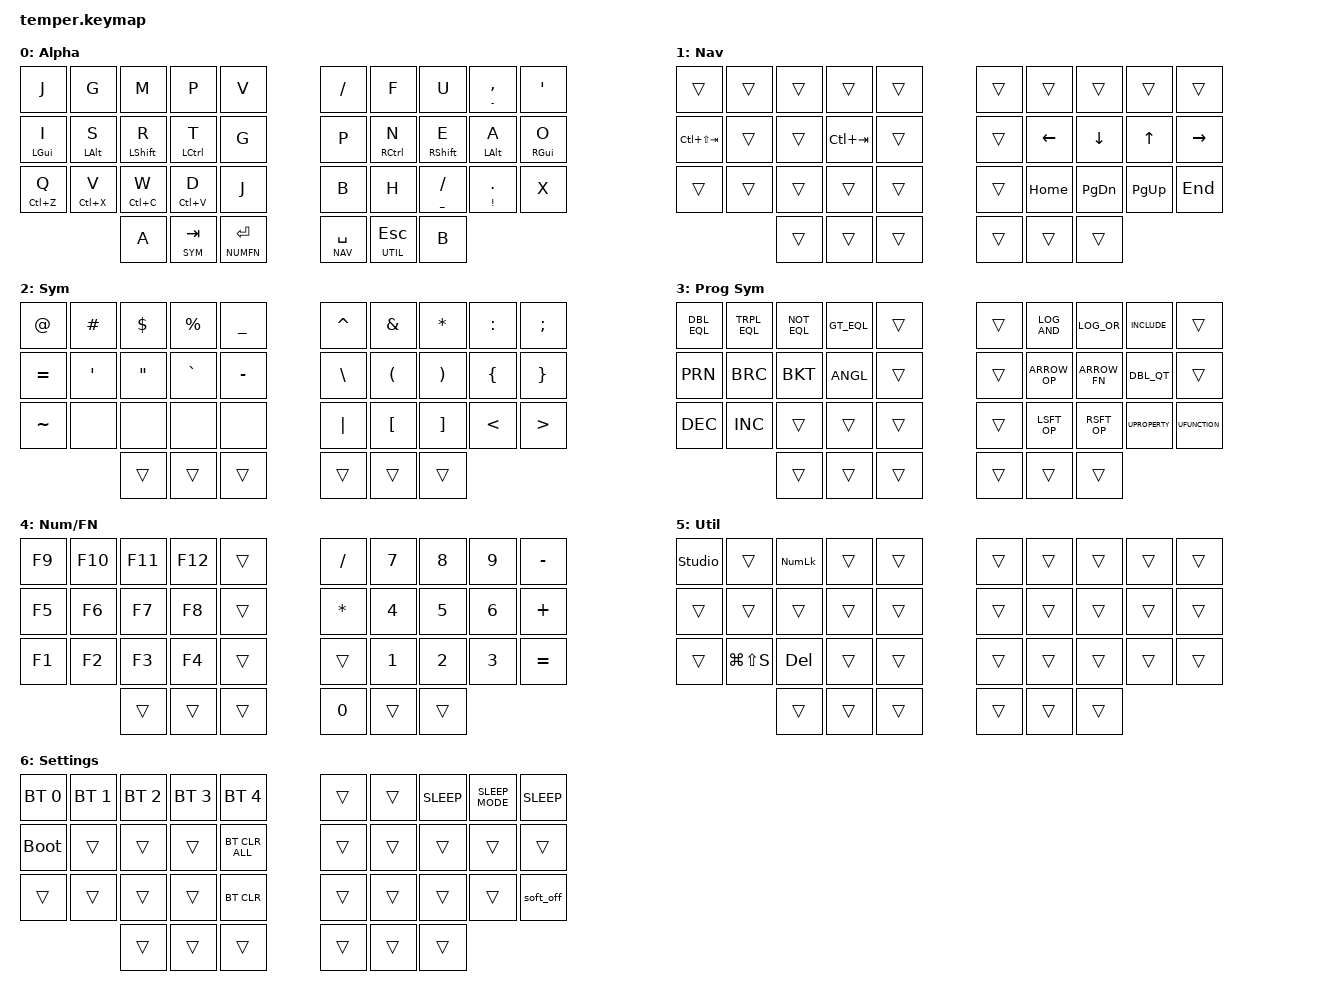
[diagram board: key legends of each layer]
/*
 * Copyright (c) 2020 The ZMK Contributors
 *
 * SPDX-License-Identifier: MIT
 */

#include <behaviors.dtsi>
#include <dt-bindings/zmk/keys.h>
#include <dt-bindings/zmk/bt.h>
#include <dt-bindings/zmk/outputs.h>
#include "layers.conf"
#include "macros.conf"
#include "combos.conf"


/ {
    behaviors {

       hm: homerow_mods {
                compatible = "zmk,behavior-hold-tap";
                #binding-cells = <2>;
                tapping-term-ms = <200>;
                flavor = "tap-preferred";
                bindings = <&kp>, <&kp>;
            };

            kp_sl: behavior_kp_sl {
                compatible = "zmk,behavior-hold-tap";
                #binding-cells = <2>;
                flavor = "hold-preferred";
                tapping-term-ms = <200>;
                bindings = <&sl>, <&kp>;
            };

            ht: behavior_hold_tap_key {
                compatible = "zmk,behavior-hold-tap";
                #binding-cells = <2>;
                flavor = "hold-preferred";
                tapping-term-ms = <200>;
                bindings = <&kp>, <&kp>;
            };

        bspc_del: backspace_delete {
            compatible = "zmk,behavior-mod-morph";
            #binding-cells = <0>;
            bindings = <&kp BACKSPACE>, <&kp DELETE>;
            mods = <(MOD_LSFT|MOD_RSFT)>;
            keep-mods = <(MOD_RSFT)>;
        };
        super_bspc: super_backspace {
            compatible = "zmk,behavior-mod-morph";
            #binding-cells = <0>;
            bindings = <&kp BACKSPACE>, <&kp LA(BACKSPACE)>;
            mods = <(MOD_LSFT|MOD_RSFT)>;
        };
        smart_shft: smart_shift {
            compatible = "zmk,behavior-mod-morph";
            #binding-cells = <0>;
            bindings = <&kp LSHFT>, <&caps_word>;
            mods = <(MOD_LSFT)>;
        };
        comma_semi: comma_semi {
            compatible = "zmk,behavior-mod-morph";
            #binding-cells = <0>;
            bindings = <&kp COMMA>, <&kp SEMI>;
            mods = <(MOD_LSFT)>;
        };
        dot_colon: dot_colon {
            compatible = "zmk,behavior-mod-morph";
            #binding-cells = <0>;
            bindings = <&kp DOT>, <&kp COLON>;
            mods = <(MOD_LSFT)>;
        };
        qmrk_excl: qmrk_excl {
            compatible = "zmk,behavior-mod-morph";
            #binding-cells = <0>;
            bindings = <&kp QMARK>, <&kp EXCL>;
            mods = <(MOD_LSFT)>;
        };
        slh_morph: slh_morph {
            compatible = "zmk,behavior-mod-morph";
            #binding-cells = <0>;
            bindings = <&kp FSLH>, <&kp BSLH>;
            mods = <(MOD_LSFT)>;
        };
        amps_morph: amps_morph {
            compatible = "zmk,behavior-mod-morph";
            #binding-cells = <0>;
            bindings = <&kp AMPS>, <&kp PIPE>;
            mods = <(MOD_LSFT)>;
        };
    };

    conditional_layers {
        compatible = "zmk,conditional-layers";

        settings_trigger {
            if-layers = <1 4>;
            then-layer = <6>;
        };
    };

        keymap {
                compatible = "zmk,keymap";

                default_layer {
                        display-name = "Alpha";
                        bindings = <
// ╭─────────────┬─────────────┬─────────────┬─────────────┬─────────────╮   ╭─────────────┬─────────────┬─────────────┬─────────────┬─────────────╮
        &kp J         &kp G         &kp M         &kp P         &kp V             &kp SLASH         &kp F         &kp U    &ht MINUS COMMA   &kp APOS
// ├─────────────┼─────────────┼─────────────┼─────────────┼─────────────┤   ├─────────────┼─────────────┼─────────────┼─────────────┼─────────────┤
      &hm LGUI I   &hm LALT S   &hm LSHFT R  &hm LCTRL T        &kp G               &kp P  &hm RCTRL N    &hm RSHFT E      &hm LALT A    &hm RGUI O
// ├─────────────┼─────────────┼─────────────┼─────────────┼─────────────┤   ├─────────────┼─────────────┼─────────────┼─────────────┼─────────────┤
     &mt LC(Z) Q    &mt LC(X) V  &mt LC(C) W  &mt LC(V) D      &kp J              &kp B         &kp H    &ht UNDER SLASH &ht EXCL DOT     &kp X
// ╰─────────────┴─────────────┼─────────────┼─────────────┼─────────────┤   ├─────────────┼─────────────┼─────────────┼─────────────┴─────────────╯
                                   &kp A     &lt SYM TAB  &lt NUMFN ENTER     &lt NAV SPACE  &lt UTIL ESC    &kp B
//                             ╰─────────────┴─────────────┴─────────────╯   ╰─────────────┴─────────────┴─────────────╯
                        >;
                };

                nav_layer {
                    display-name = "Nav";
                        bindings = <
// ╭─────────────┬─────────────┬─────────────┬─────────────┬─────────────╮   ╭─────────────┬─────────────┬─────────────┬─────────────┬─────────────╮
        &trans      &trans        &trans        &trans          &trans            &trans        &trans         &trans     &trans         &trans
// ├─────────────┼─────────────┼─────────────┼─────────────┼─────────────┤   ├─────────────┼─────────────┼─────────────┼─────────────┼─────────────┤
    &kp LC(LS(TAB))  &trans         &trans      &kp LC(TAB)     &trans          &trans         &kp LEFT     &kp DOWN        &kp UP     &kp RIGHT
// ├─────────────┼─────────────┼─────────────┼─────────────┼─────────────┤   ├─────────────┼─────────────┼─────────────┼─────────────┼─────────────┤
        &trans       &trans         &trans        &trans       &trans             &trans        &kp HOME   &kp PG_DN        &kp PG_UP   &kp END
// ╰─────────────┴─────────────┼─────────────┼─────────────┼─────────────┤   ├─────────────┼─────────────┼─────────────┼─────────────┴─────────────╯
                                    &trans        &trans        &trans            &trans        &trans        &trans
//                             ╰─────────────┴─────────────┴─────────────╯   ╰─────────────┴─────────────┴─────────────╯
                        >;
                };


           sym_layer {
               display-name = "Sym";
                        bindings = <
// ╭─────────────┬─────────────┬─────────────┬─────────────┬─────────────╮   ╭─────────────┬─────────────┬─────────────┬─────────────┬─────────────╮
         &kp AT     &kp HASH       &kp DLLR     &kp PRCNT     &kp UNDER         &kp CARET      &kp AMPS     &kp STAR       &kp COLON    &kp SEMI
// ├─────────────┼─────────────┼─────────────┼─────────────┼─────────────┤   ├─────────────┼─────────────┼─────────────┼─────────────┼─────────────┤
     &kp EQUAL      &kp APOS       &kp DQT      &kp GRAVE     &kp MINUS         &kp BSLH      &kp LPAR        &kp RPAR    &kp LBRC      &kp RBRC
// ├─────────────┼─────────────┼─────────────┼─────────────┼─────────────┤   ├─────────────┼─────────────┼─────────────┼─────────────┼─────────────┤
        &kp TILDE   &none           &none       &none           &none           &kp PIPE       &kp LBKT     &kp RBKT        &kp LT       &kp GT
// ╰─────────────┴─────────────┼─────────────┼─────────────┼─────────────┤   ├─────────────┼─────────────┼─────────────┼─────────────┴─────────────╯
                                    &trans        &trans        &trans            &trans        &trans        &trans
//                             ╰─────────────┴─────────────┴─────────────╯   ╰─────────────┴─────────────┴─────────────╯
                        >;
                };

           prog_sym_layer {
               display-name = "Prog Sym";
                        bindings = <
// ╭─────────────┬─────────────┬─────────────┬─────────────┬─────────────╮   ╭─────────────┬─────────────┬─────────────┬─────────────┬─────────────╮
       &DBL_EQL     &TRPL_EQL      &NOT_EQL       &GT_EQL       &trans             &trans      &LOG_AND     &LOG_OR        &INCLUDE    &trans
// ├─────────────┼─────────────┼─────────────┼─────────────┼─────────────┤   ├─────────────┼─────────────┼─────────────┼─────────────┼─────────────┤
         &PRN          &BRC         &BKT          &ANGL         &trans             &trans     &ARROW_OP      &ARROW_FN      &DBL_QT     &trans
// ├─────────────┼─────────────┼─────────────┼─────────────┼─────────────┤   ├─────────────┼─────────────┼─────────────┼─────────────┼─────────────┤
         &DEC          &INC         &trans         &trans       &trans             &trans     &LSFT_OP       &RSFT_OP      &UPROPERTY  &UFUNCTION
// ╰─────────────┴─────────────┼─────────────┼─────────────┼─────────────┤   ├─────────────┼─────────────┼─────────────┼─────────────┴─────────────╯
                                    &trans        &trans        &trans            &trans        &trans        &trans
//                             ╰─────────────┴─────────────┴─────────────╯   ╰─────────────┴─────────────┴─────────────╯
                        >;
                };

//                qwerty_layer {
//                        bindings = <
// ╭─────────────┬─────────────┬─────────────┬─────────────┬─────────────╮   ╭─────────────┬─────────────┬─────────────┬─────────────┬─────────────╮
//        &kp Q         &kp W         &kp E         &kp R         &kp T              &kp Y        &kp U         &kp I         &kp O         &kp P   
// ├─────────────┼─────────────┼─────────────┼─────────────┼─────────────┤   ├─────────────┼─────────────┼─────────────┼─────────────┼─────────────┤
//        &kp A         &kp S         &kp D         &kp F         &kp G              &kp H        &kp J         &kp K         &kp L       &kp SEMI
// ├─────────────┼─────────────┼─────────────┼─────────────┼─────────────┤   ├─────────────┼─────────────┼─────────────┼─────────────┼─────────────┤
//        &kp Z         &kp X         &kp C         &kp V         &kp B              &kp N        &kp M       &kp COMMA      &kp DOT      &kp FSLH
// ╰─────────────┴─────────────┼─────────────┼─────────────┼─────────────┤   ├─────────────┼─────────────┼─────────────┼─────────────┴─────────────╯
//                                    &trans        &trans        &trans             &trans       &trans        &trans
//                             ╰─────────────┴─────────────┴─────────────╯   ╰─────────────┴─────────────┴─────────────╯
//                        >;
//                };

                numfn_layer {
                    display-name = "Num/FN";
                    bindings = <
// ╭─────────────┬─────────────┬─────────────┬─────────────┬─────────────╮   ╭─────────────┬─────────────┬─────────────┬─────────────┬─────────────╮
        &kp F9       &kp F10       &kp F11        &kp F12       &trans           &kp SLASH     &kp N7          &kp N8       &kp N9      &kp MINUS
// ├─────────────┼─────────────┼─────────────┼─────────────┼─────────────┤   ├─────────────┼─────────────┼─────────────┼─────────────┼─────────────┤
        &kp F5       &kp F6        &kp F7         &kp F8        &trans           &kp STAR      &kp N4          &kp N5       &kp N6      &kp PLUS
// ├─────────────┼─────────────┼─────────────┼─────────────┼─────────────┤   ├─────────────┼─────────────┼─────────────┼─────────────┼─────────────┤
        &kp F1       &kp F2        &kp F3         &kp F4        &trans           &trans        &kp N1          &kp N2       &kp N3      &kp EQUAL
// ╰─────────────┴─────────────┼─────────────┼─────────────┼─────────────┤   ├─────────────┼─────────────┼─────────────┼─────────────┴─────────────╯
                                    &trans        &trans        &trans            &kp N0        &trans        &trans
//                             ╰─────────────┴─────────────┴─────────────╯   ╰─────────────┴─────────────┴─────────────╯
                        >;
                };

                util_layer {
                    display-name = "Util";
                    bindings = <
// ╭─────────────┬─────────────┬─────────────┬─────────────┬─────────────╮   ╭─────────────┬─────────────┬─────────────┬─────────────┬─────────────╮
    &studio_unlock   &trans    &kp KP_NUMLOCK    &trans         &trans          &trans          &trans      &trans          &trans       &trans
// ├─────────────┼─────────────┼─────────────┼─────────────┼─────────────┤   ├─────────────┼─────────────┼─────────────┼─────────────┼─────────────┤
        &trans       &trans         &trans       &trans         &trans          &trans          &trans      &trans          &trans       &trans
// ├─────────────┼─────────────┼─────────────┼─────────────┼─────────────┤   ├─────────────┼─────────────┼─────────────┼─────────────┼─────────────┤
        &trans    &kp LG(LS(S))  &kp DEL         &trans          &trans         &trans          &trans      &trans          &trans       &trans
// ╰─────────────┴─────────────┼─────────────┼─────────────┼─────────────┤   ├─────────────┼─────────────┼─────────────┼─────────────┴─────────────╯
                                    &trans        &trans        &trans            &trans        &trans        &trans
//                             ╰─────────────┴─────────────┴─────────────╯   ╰─────────────┴─────────────┴─────────────╯
                        >;
                };


                 settings_layer {
                    display-name = "Settings";
                    bindings = <
// ╭─────────────┬─────────────┬─────────────┬─────────────┬─────────────╮   ╭─────────────┬─────────────┬─────────────┬─────────────┬─────────────╮
     &bt BT_SEL 0  &bt BT_SEL 1  &bt BT_SEL 2  &bt BT_SEL 3  &bt BT_SEL 4      &trans           &trans    &kp K_SLEEP  &kp C_SLEEP_MODE  &kp C_SLEEP
// ├─────────────┼─────────────┼─────────────┼─────────────┼─────────────┤   ├─────────────┼─────────────┼─────────────┼─────────────┼─────────────┤
      &bootloader   &trans        &trans        &trans      &bt BT_CLR_ALL        &trans        &trans       &trans       &trans         &trans
// ├─────────────┼─────────────┼─────────────┼─────────────┼─────────────┤   ├─────────────┼─────────────┼─────────────┼─────────────┼─────────────┤
        &trans        &trans        &trans        &trans        &bt BT_CLR        &trans        &trans       &trans       &trans         &soft_off
// ╰─────────────┴─────────────┼─────────────┼─────────────┼─────────────┤   ├─────────────┼─────────────┼─────────────┼─────────────┴─────────────╯
                                    &trans        &trans        &trans            &trans        &trans        &trans
//                             ╰─────────────┴─────────────┴─────────────╯   ╰─────────────┴─────────────┴─────────────╯
                        >;
                };               

//                fun_layer {
//                        bindings = <
// ╭─────────────┬─────────────┬─────────────┬─────────────┬─────────────╮   ╭─────────────┬─────────────┬─────────────┬─────────────┬─────────────╮
//     &tog QWERTY   &kp K_MUTE    &kp C_VOL_DN  &kp C_VOL_UP  &out OUT_TOG         &trans        &kp F7        &kp F8        &kp F9       &kp F12
// ├─────────────┼─────────────┼─────────────┼─────────────┼─────────────┤   ├─────────────┼─────────────┼─────────────┼─────────────┼─────────────┤
//     &bt BT_SEL 0  &bt BT_SEL 1  &bt BT_SEL 2  &bt BT_SEL 3  &bt BT_SEL 4         &trans        &kp F4        &kp F5        &kp F6       &kp F11
// ├─────────────┼─────────────┼─────────────┼─────────────┼─────────────┤   ├─────────────┼─────────────┼─────────────┼─────────────┼─────────────┤
//      &bt BT_CLR    &kp C_PREV     &kp C_PP     &kp C_NEXT      &trans            &trans        &kp F1        &kp F2        &kp F3       &kp F10
// ╰─────────────┴─────────────┼─────────────┼─────────────┼─────────────┤   ├─────────────┼─────────────┼─────────────┼─────────────┴─────────────╯
//                                    &trans        &trans        &trans            &trans        &trans        &trans
//                             ╰─────────────┴─────────────┴─────────────╯   ╰─────────────┴─────────────┴─────────────╯
//                        >;
//                };
        };
};
